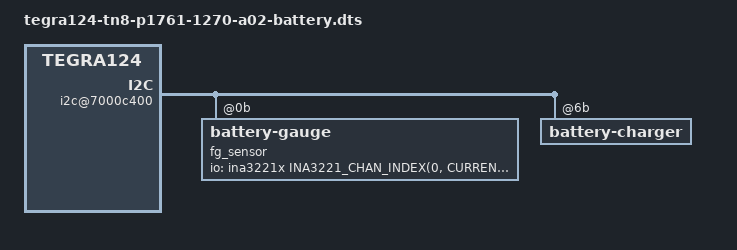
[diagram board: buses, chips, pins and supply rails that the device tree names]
#include "tegra124-tn8-p1761-1270-a02.dts"
#include <dt-bindings/iio/meter/ina3221x.h>

/ {
	nvidia,dtsfilename = __FILE__;

	i2c@7000c400 {
		fg_sensor: battery-gauge@0b {
			status = "okay";
			onsemi,kernel-threshold-soc = <2>;
			io-channels = <&ina3221x INA3221_CHAN_INDEX(0, CURRENT, NORMAL) &palams_gpadc 0>;
			io-channel-names = "battery-current", "batt_id";
		};

		battery-charger@6b {
			charger {
				status = "okay";
			};
		};
	};

	thermal-zones {
		Battery {
			thermal-sensors = <&fg_sensor>;
			status = "okay";
		};
	};
};

